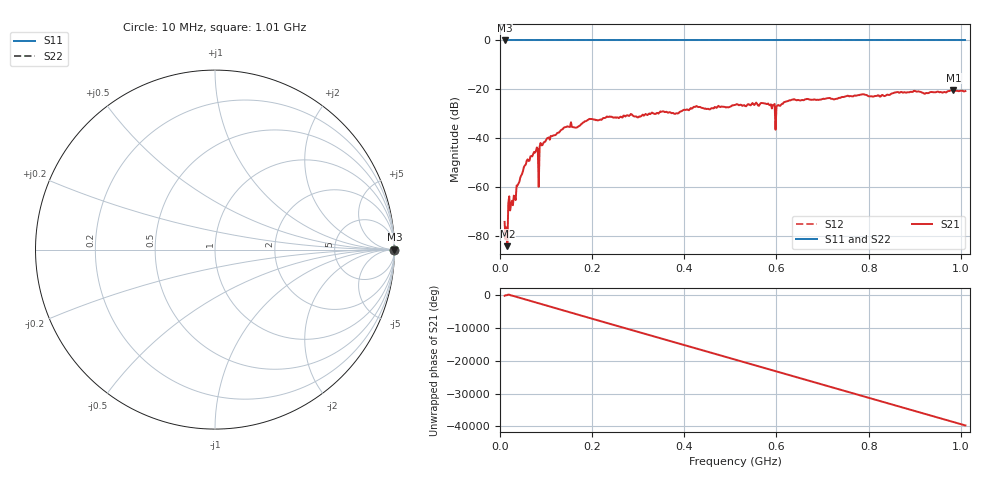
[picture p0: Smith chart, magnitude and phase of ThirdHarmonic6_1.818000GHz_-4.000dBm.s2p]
! 8/16/2025 10:01:43 PM
! C:\ANRITSUVNA\TEMP\TEMP.S2P
! CHANNEL.1
! TR.MEASUREMENT
! RAW.DATA
! RF.CORRECTION.OFF
! AVERAGING.OFF
! IF.BANDWIDTH: 5KHZ
! SWEEPTYPE:  FREQ.SWEEP(Linear)
! Reference Plane Port Info
! PORT:  PORT1  PORT2
! DISTANCE:  0  m  0  m
! TIME:  0  s  0  s
! PHASE.OFFSET:  0  deg.  0  deg.
! LOSS:  0  dB  0  dB
! REF.LOSS:  0  dB  0  dB
! REF.FREQ:  0  Hz  0  Hz
! Power Info
! POWER:  -20  dBm  -20  dBm
! EFF.POWER:  -20  dBm  -20  dBm
! SOURCE.ATTEN:  0  dB  0  dB
! TEST.ATTEN:  0  dB  0  dB
# GHZ S RI R 50.0
! FREQ.GHZ  S11RE  S11IM  S21RE  S21IM  S12RE  S12IM  S22RE  S22IM
!; PortSelection: Port_12
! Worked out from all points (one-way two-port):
!   501 points, 10 MHz to 1.01 GHz, reference 50 ohm
!   highest |S21| = -20.27 dB at 984 MHz (marker M1); lowest = -84.0 dB at 16 MHz (marker M2)
!   lowest |S11| = 0.0 dB at 10 MHz (marker M3)
!   |S11| at or under -10 dB: nowhere
!   |S22| runs from 0.0 to 0.0 dB; largest |S21 - S12| = 1.1
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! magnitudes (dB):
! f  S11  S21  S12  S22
! 10 MHz  0.0  -74.1  0.0  0.0
! 12 MHz  0.0  -81.3  0.0  0.0
! 16 MHz  0.0  -84.0  0.0  0.0
! 22 MHz  0.0  -69.4  0.0  0.0
! 30 MHz  0.0  -63.4  0.0  0.0
! 40 MHz  0.0  -58.4  0.0  0.0
! 62 MHz  0.0  -49.2  0.0  0.0
! 78 MHz  0.0  -45.1  0.0  0.0
! 80 MHz  0.0  -43.7  0.0  0.0
! 88 MHz  0.0  -41.9  0.0  0.0
! 90 MHz  0.0  -42.8  0.0  0.0
! 102 MHz  0.0  -40.0  0.0  0.0
! 178 MHz  0.0  -34.0  0.0  0.0
! 344 MHz  0.0  -29.9  0.0  0.0
! 510 MHz  0.0  -26.4  0.0  0.0
! 572 MHz  0.0  -25.6  0.0  0.0
! 602 MHz  0.0  -26.6  0.0  0.0
! 624 MHz  0.0  -24.8  0.0  0.0
! 678 MHz  0.0  -24.2  0.0  0.0
! 844 MHz  0.0  -22.3  0.0  0.0
! 984 MHz  0.0  -20.3  0.0  0.0
! 1.01 GHz  0.0  -20.7  0.0  0.0
